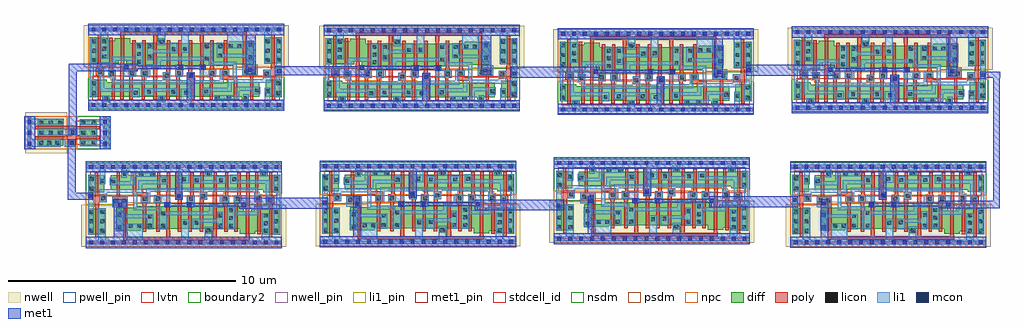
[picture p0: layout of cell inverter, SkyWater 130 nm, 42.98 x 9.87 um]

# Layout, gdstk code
from math import pi, radians
import gdstk
lib = gdstk.Library(unit=1e-6, precision=1e-09)
def R(c, l, rs):  # rectangles x0, y0, x1, y1
    for r in rs: c.add(gdstk.rectangle(r[:2], r[2:], *l))
def A(c, l, x, y, w, h, nx, ny, dx, dy):  # array of equal rectangles
    R(c, l, [(x+i*dx, y+j*dy, x+i*dx+w, y+j*dy+h) for i in range(nx) for j in range(ny)])
def P(c, l, *ps):  # polygons
    for p in ps: c.add(gdstk.Polygon(p, *l))
nwell_pin = (64, 16)
nwell = (64, 20)
diff = (65, 20)
poly = (66, 20)
licon = (66, 44)
li1_pin = (67, 16)
li1 = (67, 20)
mcon = (67, 44)
met1_pin = (68, 16)
met1 = (68, 20)
stdcell_id = (81, 4)
nsdm = (93, 44)
psdm = (94, 20)
npc = (95, 20)
pwell_pin = (122, 16)
lvtn = (125, 44)
boundary2 = (236, 0)

sky130_fd_sc_hs__inv_2 = lib.new_cell('sky130_fd_sc_hs__inv_2')
R(sky130_fd_sc_hs__inv_2, nwell_pin, [(0,3.085,1.44,3.33)])
R(sky130_fd_sc_hs__inv_2, nwell, [(-0.19,1.66,1.63,3.52)])
R(sky130_fd_sc_hs__inv_2, diff, [(0.15,0.37,1.3,1.11), (0.135,1.84,1.305,2.96)])
P(sky130_fd_sc_hs__inv_2, poly, [(1.035,1.765),(1.02,1.765),(1.02,3.09),(0.87,3.09),(0.87,1.765),(0.855,1.765),(0.855,1.45),(0.585,1.45),(0.585,1.765),(0.57,1.765),(0.57,3.09),(0.42,3.09),(0.42,1.765),(0.405,1.765),(0.405,1.63),(0.105,1.63),(0.105,1.3),(0.435,1.3),(0.435,0.24),(0.585,0.24),(0.585,1.3),(0.865,1.3),(0.865,0.24),(1.015,0.24),(1.015,1.3),(1.035,1.3)])
A(sky130_fd_sc_hs__inv_2, licon, 0.21, 0.43, 0.17, 0.17, 3, 2, 0.43, 0.45)
A(sky130_fd_sc_hs__inv_2, licon, 0.185, 2.73, 0.17, 0.17, 3, 1, 0.45, 0)
R(sky130_fd_sc_hs__inv_2, licon, [(0.185,1.38,0.355,1.55), (0.635,1.9,0.805,2.07), (1.085,1.9,1.255,2.07), (0.185,2.03,0.355,2.2), (0.635,2.315,0.805,2.485), (1.085,2.315,1.255,2.485), (0.185,2.38,0.355,2.55)])
A(sky130_fd_sc_hs__inv_2, li1_pin, 0.635, 0.47, 0.17, 0.17, 1, 7, 0, 0.37)
R(sky130_fd_sc_hs__inv_2, li1_pin, [(0.155,1.58,0.325,1.75)])
R(sky130_fd_sc_hs__inv_2, li1, [(0.105,1.3,0.435,1.78)])
P(sky130_fd_sc_hs__inv_2, li1, [(0,-0.085),(0,0.085),(0.13,0.085),(0.13,1.13),(0.38,1.13),(0.38,0.085),(1.07,0.085),(1.07,1.13),(1.32,1.13),(1.32,0.085),(1.44,0.085),(1.44,-0.085)],
  [(0,3.245),(0,3.415),(1.44,3.415),(1.44,3.245),(1.335,3.245),(1.335,1.82),(1.085,1.82),(1.085,3.245),(0.435,3.245),(0.435,1.95),(0.105,1.95),(0.105,3.245)],
  [(0.605,1.13),(0.605,2.98),(0.89,2.98),(0.89,0.35),(0.56,0.35),(0.56,1.13)])
A(sky130_fd_sc_hs__inv_2, mcon, 0.155, -0.085, 0.17, 0.17, 3, 2, 0.48, 3.33)
R(sky130_fd_sc_hs__inv_2, met1_pin, [(0,0,1.44,0.245), (0,3.085,1.44,3.33)])
R(sky130_fd_sc_hs__inv_2, met1, [(0,-0.245,1.44,0.245), (0,3.085,1.44,3.575)])
R(sky130_fd_sc_hs__inv_2, stdcell_id, [(0,0,1.44,3.33)])
R(sky130_fd_sc_hs__inv_2, nsdm, [(0,-0.19,1.44,1.66)])
R(sky130_fd_sc_hs__inv_2, psdm, [(0,1.66,1.44,3.52)])
R(sky130_fd_sc_hs__inv_2, npc, [(0,1.23,1.44,1.7)])
R(sky130_fd_sc_hs__inv_2, pwell_pin, [(0,0,1.44,0.245)])
R(sky130_fd_sc_hs__inv_2, lvtn, [(0.19,0.19,1.25,1.3)])
R(sky130_fd_sc_hs__inv_2, boundary2, [(0,0,1.44,3.33)])
sky130_fd_sc_hs__inv_2.add(gdstk.Label('inv_2', (0,0), layer=83, texttype=44))
sky130_fd_sc_hs__inv_2.add(gdstk.Label('VNB', (0.72,0.123), layer=64, texttype=59))
sky130_fd_sc_hs__inv_2.add(gdstk.Label('VPB', (0.72,3.208), layer=64, texttype=5))
sky130_fd_sc_hs__inv_2.add(gdstk.Label('VPWR', (0.72,3.208), layer=68, texttype=5))
sky130_fd_sc_hs__inv_2.add(gdstk.Label('VGND', (0.72,0.123), layer=68, texttype=5))
sky130_fd_sc_hs__inv_2.add(gdstk.Label('A', (0.24,1.665), layer=67, texttype=5))
sky130_fd_sc_hs__inv_2.add(gdstk.Label('Y', (0.72,0.555), layer=67, texttype=5))
sky130_fd_sc_hs__inv_2.add(gdstk.Label('Y', (0.72,0.925), layer=67, texttype=5))
sky130_fd_sc_hs__inv_2.add(gdstk.Label('Y', (0.72,1.295), layer=67, texttype=5))
sky130_fd_sc_hs__inv_2.add(gdstk.Label('Y', (0.72,1.665), layer=67, texttype=5))
sky130_fd_sc_hs__inv_2.add(gdstk.Label('Y', (0.72,2.035), layer=67, texttype=5))
sky130_fd_sc_hs__inv_2.add(gdstk.Label('Y', (0.72,2.405), layer=67, texttype=5))
sky130_fd_sc_hs__inv_2.add(gdstk.Label('Y', (0.72,2.775), layer=67, texttype=5))

sky130_fd_sc_hs__fa_1 = lib.new_cell('sky130_fd_sc_hs__fa_1')
R(sky130_fd_sc_hs__fa_1, nwell_pin, [(0,3.085,8.64,3.33)])
P(sky130_fd_sc_hs__fa_1, nwell, [(8.83,3.52),(-0.19,3.52),(-0.19,1.66),(1.5,1.66),(1.5,1.555),(7.48,1.555),(7.48,1.66),(8.83,1.66)])
R(sky130_fd_sc_hs__fa_1, diff, [(7.82,0.37,8.505,1.11), (7.775,1.84,8.505,2.96)])
P(sky130_fd_sc_hs__fa_1, diff, [(7.3,2.81),(6.22,2.81),(6.22,2.735),(3.375,2.735),(3.375,2.94),(3.12,2.94),(3.12,2.735),(1.855,2.735),(1.855,2.945),(1.175,2.945),(1.175,2.84),(0.845,2.84),(0.845,2.96),(0.135,2.96),(0.135,1.84),(1.35,1.84),(1.35,1.945),(1.68,1.945),(1.68,1.735),(6.395,1.735),(6.395,1.81),(7.3,1.81)],
  [(7.55,1.015),(0.82,1.015),(0.82,1.11),(0.135,1.11),(0.135,0.37),(0.645,0.37),(0.645,0.18),(0.96,0.18),(0.96,0.375),(3.09,0.375),(3.09,0.18),(3.38,0.18),(3.38,0.375),(5.575,0.375),(5.575,0.195),(6.335,0.195),(6.335,0.375),(6.77,0.375),(6.77,0.18),(7.06,0.18),(7.06,0.375),(7.55,0.375)])
P(sky130_fd_sc_hs__fa_1, poly, [(0.675,1.63),(0.585,1.63),(0.585,1.765),(0.57,1.765),(0.57,3.09),(0.42,3.09),(0.42,1.765),(0.405,1.765),(0.405,1.63),(0.345,1.63),(0.345,1.3),(0.42,1.3),(0.42,0.24),(0.57,0.24),(0.57,1.3),(0.675,1.3)],
  [(1.215,1.55),(1.1,1.55),(1.1,1.765),(1.085,1.765),(1.085,2.97),(0.935,2.97),(0.935,1.765),(0.92,1.765),(0.92,1.55),(0.885,1.55),(0.885,1.22),(1.035,1.22),(1.035,0.245),(1.185,0.245),(1.185,1.22),(1.215,1.22)],
  [(2.115,1.575),(2.11,1.575),(2.11,1.66),(2.095,1.66),(2.095,2.865),(1.945,2.865),(1.945,1.66),(1.93,1.66),(1.93,1.575),(1.785,1.575),(1.785,1.245),(1.815,1.245),(1.815,0.245),(1.965,0.245),(1.965,1.245),(2.115,1.245)],
  [(2.655,1.575),(2.56,1.575),(2.56,1.66),(2.545,1.66),(2.545,2.865),(2.395,2.865),(2.395,1.66),(2.38,1.66),(2.38,1.575),(2.325,1.575),(2.325,1.245),(2.355,1.245),(2.355,0.245),(2.505,0.245),(2.505,1.245),(2.655,1.245)],
  [(3.63,1.66),(3.615,1.66),(3.615,2.865),(3.465,2.865),(3.465,1.66),(3.45,1.66),(3.45,1.455),(3.3,1.455),(3.3,1.125),(3.455,1.125),(3.455,0.245),(3.605,0.245),(3.605,1.125),(3.63,1.125)],
  [(4.17,1.575),(4.135,1.575),(4.135,1.66),(4.12,1.66),(4.12,2.865),(3.97,2.865),(3.97,1.66),(3.955,1.66),(3.955,1.575),(3.84,1.575),(3.84,1.245),(3.885,1.245),(3.885,0.245),(4.035,0.245),(4.035,1.245),(4.17,1.245)],
  [(4.71,1.455),(4.595,1.455),(4.595,1.66),(4.58,1.66),(4.58,2.865),(4.43,2.865),(4.43,1.66),(4.415,1.66),(4.415,1.455),(4.38,1.455),(4.38,1.125),(4.53,1.125),(4.53,0.245),(4.68,0.245),(4.68,1.125),(4.71,1.125)],
  [(5.64,1.575),(5.55,1.575),(5.55,1.66),(5.535,1.66),(5.535,2.865),(5.385,2.865),(5.385,1.66),(5.37,1.66),(5.37,1.575),(5.31,1.575),(5.31,1.245),(5.35,1.245),(5.35,0.245),(5.5,0.245),(5.5,1.245),(5.64,1.245)],
  [(6.56,1.26),(6.21,1.26),(6.21,1.575),(6.145,1.575),(6.145,1.66),(6.13,1.66),(6.13,2.865),(5.98,2.865),(5.98,1.66),(5.965,1.66),(5.965,1.575),(5.88,1.575),(5.88,1.11),(6.41,1.11),(6.41,0.245),(6.56,0.245)],
  [(7.47,1.65),(6.98,1.65),(6.98,1.735),(6.965,1.735),(6.965,2.885),(6.98,2.885),(6.98,3.225),(1.425,3.225),(1.425,3.02),(1.44,3.02),(1.44,1.87),(1.425,1.87),(1.425,0.245),(1.575,0.245),(1.575,1.715),(1.605,1.715),(1.605,1.87),(1.59,1.87),(1.59,3.02),(1.605,3.02),(1.605,3.075),(2.865,3.075),(2.865,2.81),(2.88,2.81),(2.88,1.66),(2.865,1.66),(2.865,0.245),(3.015,0.245),(3.015,1.09),(3.045,1.09),(3.045,1.66),(3.03,1.66),(3.03,2.81),(3.045,2.81),(3.045,3.075),(4.92,3.075),(4.92,2.81),(4.935,2.81),(4.935,1.66),(4.92,1.66),(4.92,0.245),(5.07,0.245),(5.07,1.09),(5.1,1.09),(5.1,1.66),(5.085,1.66),(5.085,2.81),(5.1,2.81),(5.1,3.075),(6.8,3.075),(6.8,2.885),(6.815,2.885),(6.815,1.735),(6.8,1.735),(6.8,1.32),(7.135,1.32),(7.135,0.245),(7.285,0.245),(7.285,1.32),(7.47,1.32)],
  [(8.235,1.765),(8.22,1.765),(8.22,3.09),(8.07,3.09),(8.07,1.765),(8.055,1.765),(8.055,1.55),(7.71,1.55),(7.71,1.22),(8.085,1.22),(8.085,0.24),(8.235,0.24)])
A(sky130_fd_sc_hs__fa_1, licon, 2.16, 1.825, 0.17, 0.17, 1, 3, 0, 0.34)
A(sky130_fd_sc_hs__fa_1, licon, 0.185, 1.9, 0.17, 0.17, 1, 3, 0, 0.415)
A(sky130_fd_sc_hs__fa_1, licon, 7.835, 1.9, 0.17, 0.17, 1, 3, 0, 0.415)
A(sky130_fd_sc_hs__fa_1, licon, 8.285, 1.9, 0.17, 0.17, 1, 3, 0, 0.415)
A(sky130_fd_sc_hs__fa_1, licon, 0.635, 2.05, 0.17, 0.17, 1, 3, 0, 0.34)
R(sky130_fd_sc_hs__fa_1, licon, [(6.83,0.22,7,0.39), (0.715,0.24,0.885,0.41), (3.15,0.24,3.32,0.41), (5.635,0.255,5.805,0.425), (6.105,0.255,6.275,0.425), (0.195,0.43,0.365,0.6), (8.29,0.43,8.46,0.6), (4.23,0.46,4.4,0.63), (2.02,0.465,2.19,0.635), (2.6,0.5,2.77,0.67), (3.66,0.5,3.83,0.67), (5.125,0.515,5.295,0.685), (7.86,0.52,8.03,0.69), (7.34,0.56,7.51,0.73), (0.195,0.88,0.365,1.05), (8.29,0.88,8.46,1.05), (3.38,1.205,3.55,1.375), (4.46,1.205,4.63,1.375), (0.965,1.3,1.135,1.47), (7.79,1.3,7.96,1.47), (1.865,1.325,2.035,1.495), (2.405,1.325,2.575,1.495), (3.92,1.325,4.09,1.495), (5.39,1.325,5.56,1.495), (5.96,1.325,6.13,1.495), (0.425,1.38,0.595,1.55), (6.88,1.4,7.05,1.57), (7.22,1.4,7.39,1.57), (5.15,1.95,5.32,2.12), (7.07,2.03,7.24,2.2), (2.61,2.045,2.78,2.215), (5.745,2.085,5.915,2.255), (3.68,2.37,3.85,2.54), (4.185,2.385,4.355,2.555), (2.61,2.505,2.78,2.675), (5.15,2.505,5.32,2.675), (5.745,2.505,5.915,2.675), (6.2,2.515,6.37,2.685), (6.575,2.515,6.745,2.685), (7.07,2.58,7.24,2.75), (3.16,2.71,3.33,2.88)])
A(sky130_fd_sc_hs__fa_1, li1_pin, 8.315, 0.47, 0.17, 0.17, 1, 7, 0, 0.37)
R(sky130_fd_sc_hs__fa_1, li1_pin, [(0.155,0.47,0.325,0.64), (0.155,0.84,0.325,1.01), (4.475,1.21,4.645,1.38), (6.875,1.58,7.045,1.75)])
R(sky130_fd_sc_hs__fa_1, li1, [(3.84,1.26,4.195,1.78), (6.8,1.32,7.47,1.78)])
P(sky130_fd_sc_hs__fa_1, li1, [(7.59,0.81),(6.49,0.81),(6.49,0.425),(5.555,0.425),(5.555,0.255),(6.66,0.255),(6.66,0.64),(7.26,0.64),(7.26,0.48),(7.59,0.48)],
  [(8.04,1.55),(7.71,1.55),(7.71,1.15),(6.55,1.15),(6.55,1.915),(5.495,1.915),(5.495,2.755),(5.07,2.755),(5.07,2.12),(3.03,2.12),(3.03,1.795),(2.58,1.795),(2.58,1.575),(2.325,1.575),(2.325,1.26),(2.75,1.26),(2.75,1.625),(3.2,1.625),(3.2,1.95),(5.325,1.95),(5.325,1.745),(6.38,1.745),(6.38,1.15),(6.15,1.15),(6.15,0.765),(5.045,0.765),(5.045,0.435),(5.375,0.435),(5.375,0.595),(6.32,0.595),(6.32,0.98),(8.04,0.98)],
  [(8.54,2.98),(8.285,2.98),(8.285,1.13),(8.21,1.13),(8.21,0.35),(8.54,0.35)],
  [(8.64,3.415),(0,3.415),(0,3.245),(0.555,3.245),(0.555,2.05),(0.885,2.05),(0.885,3.245),(3.08,3.245),(3.08,2.63),(3.41,2.63),(3.41,3.245),(4.105,3.245),(4.105,2.305),(4.435,2.305),(4.435,3.245),(6.12,3.245),(6.12,2.5),(6.825,2.5),(6.825,3.245),(7.755,3.245),(7.755,1.82),(8.085,1.82),(8.085,3.245),(8.64,3.245)],
  [(8.64,0.085),(8.03,0.085),(8.03,0.77),(7.78,0.77),(7.78,0.085),(7.08,0.085),(7.08,0.47),(6.83,0.47),(6.83,0.085),(4.555,0.085),(4.555,0.71),(4.08,0.71),(4.08,0.085),(3.4,0.085),(3.4,0.41),(3.07,0.41),(3.07,0.085),(0.98,0.085),(0.98,0.41),(0.625,0.41),(0.625,0.085),(0,0.085),(0,-0.085),(8.64,-0.085)],
  [(0.365,1.13),(0.255,1.13),(0.255,1.82),(0.355,1.82),(0.355,2.98),(0.085,2.98),(0.085,0.35),(0.365,0.35)],
  [(2.115,1.575),(1.795,1.575),(1.795,1.78),(1.565,1.78),(1.565,1.26),(2.115,1.26)],
  [(2.41,2.755),(2.08,2.755),(2.08,2.12),(1.055,2.12),(1.055,1.88),(0.535,1.88),(0.535,1.63),(0.425,1.63),(0.425,1.3),(0.535,1.3),(0.535,0.58),(1.94,0.58),(1.94,0.355),(2.27,0.355),(2.27,0.75),(0.705,0.75),(0.705,1.71),(1.225,1.71),(1.225,1.95),(2.08,1.95),(2.08,1.745),(2.41,1.745)],
  [(3.91,0.75),(2.48,0.75),(2.48,0.42),(2.89,0.42),(2.89,0.58),(3.58,0.58),(3.58,0.42),(3.91,0.42)],
  [(3.93,2.755),(3.6,2.755),(3.6,2.46),(2.86,2.46),(2.86,2.755),(2.61,2.755),(2.61,1.965),(2.86,1.965),(2.86,2.29),(3.93,2.29)],
  [(5.64,1.575),(5.155,1.575),(5.155,1.78),(4.925,1.78),(4.925,1.275),(5.64,1.275)],
  [(6.21,1.575),(5.81,1.575),(5.81,1.105),(4.71,1.105),(4.71,1.455),(4.38,1.455),(4.38,1.09),(3.63,1.09),(3.63,1.455),(3.3,1.455),(3.3,1.09),(1.215,1.09),(1.215,1.54),(0.885,1.54),(0.885,1.22),(1.045,1.22),(1.045,0.92),(4.71,0.92),(4.71,0.935),(5.98,0.935),(5.98,1.32),(6.21,1.32)],
  [(7.32,2.83),(7,2.83),(7,2.255),(5.95,2.255),(5.95,2.755),(5.665,2.755),(5.665,2.085),(6.99,2.085),(6.99,1.95),(7.32,1.95)])
A(sky130_fd_sc_hs__fa_1, mcon, 0.155, -0.085, 0.17, 0.17, 18, 2, 0.48, 3.33)
R(sky130_fd_sc_hs__fa_1, mcon, [(1.595,1.58,1.765,1.75), (3.995,1.58,4.165,1.75), (4.955,1.58,5.125,1.75)])
R(sky130_fd_sc_hs__fa_1, met1_pin, [(0,0,8.64,0.245), (3.995,1.58,4.165,1.75), (0,3.085,8.64,3.33)])
R(sky130_fd_sc_hs__fa_1, met1, [(0,-0.245,8.64,0.245), (0,3.085,8.64,3.575)])
P(sky130_fd_sc_hs__fa_1, met1, [(5.185,1.78),(4.895,1.78),(4.895,1.735),(4.225,1.735),(4.225,1.78),(3.935,1.78),(3.935,1.735),(1.825,1.735),(1.825,1.78),(1.535,1.78),(1.535,1.55),(1.825,1.55),(1.825,1.595),(3.935,1.595),(3.935,1.55),(4.225,1.55),(4.225,1.595),(4.895,1.595),(4.895,1.55),(5.185,1.55)])
R(sky130_fd_sc_hs__fa_1, stdcell_id, [(0,0,8.64,3.33)])
P(sky130_fd_sc_hs__fa_1, nsdm, [(8.64,1.66),(6.525,1.66),(6.525,1.605),(1.55,1.605),(1.55,1.66),(0,1.66),(0,-0.19),(8.64,-0.19)])
P(sky130_fd_sc_hs__fa_1, psdm, [(8.64,3.52),(0,3.52),(0,1.66),(1.55,1.66),(1.55,1.605),(6.525,1.605),(6.525,1.66),(6.77,1.66),(6.77,1.68),(7.5,1.68),(7.5,1.66),(8.64,1.66)])
P(sky130_fd_sc_hs__fa_1, npc, [(8.64,1.7),(7.44,1.7),(7.44,1.67),(6.535,1.67),(6.535,1.595),(1.54,1.595),(1.54,1.7),(0,1.7),(0,1.23),(0.865,1.23),(0.865,1.2),(0.97,1.2),(0.97,1.105),(2.57,1.105),(2.57,1.225),(2.675,1.225),(2.675,1.23),(3.28,1.23),(3.28,1.105),(4.125,1.105),(4.125,0.96),(4.44,0.96),(4.44,1.105),(4.73,1.105),(4.73,1.23),(5.29,1.23),(5.29,1.225),(5.395,1.225),(5.395,1.105),(5.59,1.105),(5.59,0.96),(6.125,0.96),(6.125,1.225),(6.23,1.225),(6.23,1.23),(7.69,1.23),(7.69,1.2),(8.06,1.2),(8.06,1.23),(8.64,1.23)])
R(sky130_fd_sc_hs__fa_1, pwell_pin, [(0,0,8.64,0.245)])
R(sky130_fd_sc_hs__fa_1, lvtn, [(0.19,0.19,8.45,1.3)])
R(sky130_fd_sc_hs__fa_1, boundary2, [(0,0,8.64,3.33)])
sky130_fd_sc_hs__fa_1.add(gdstk.Label('fa_1', (0,0), layer=83, texttype=44))
sky130_fd_sc_hs__fa_1.add(gdstk.Label('VNB', (4.32,0.123), layer=64, texttype=59))
sky130_fd_sc_hs__fa_1.add(gdstk.Label('VPB', (4.32,3.208), layer=64, texttype=5))
sky130_fd_sc_hs__fa_1.add(gdstk.Label('CIN', (4.08,1.665), layer=68, texttype=5))
sky130_fd_sc_hs__fa_1.add(gdstk.Label('VPWR', (4.32,3.208), layer=68, texttype=5))
sky130_fd_sc_hs__fa_1.add(gdstk.Label('VGND', (4.32,0.123), layer=68, texttype=5))
sky130_fd_sc_hs__fa_1.add(gdstk.Label('A', (4.56,1.295), layer=67, texttype=5))
sky130_fd_sc_hs__fa_1.add(gdstk.Label('B', (6.96,1.665), layer=67, texttype=5))
sky130_fd_sc_hs__fa_1.add(gdstk.Label('COUT', (8.4,0.555), layer=67, texttype=5))
sky130_fd_sc_hs__fa_1.add(gdstk.Label('COUT', (8.4,0.925), layer=67, texttype=5))
sky130_fd_sc_hs__fa_1.add(gdstk.Label('COUT', (8.4,1.295), layer=67, texttype=5))
sky130_fd_sc_hs__fa_1.add(gdstk.Label('COUT', (8.4,1.665), layer=67, texttype=5))
sky130_fd_sc_hs__fa_1.add(gdstk.Label('COUT', (8.4,2.035), layer=67, texttype=5))
sky130_fd_sc_hs__fa_1.add(gdstk.Label('COUT', (8.4,2.405), layer=67, texttype=5))
sky130_fd_sc_hs__fa_1.add(gdstk.Label('COUT', (8.4,2.775), layer=67, texttype=5))
sky130_fd_sc_hs__fa_1.add(gdstk.Label('SUM', (0.24,0.555), layer=67, texttype=5))
sky130_fd_sc_hs__fa_1.add(gdstk.Label('SUM', (0.24,0.925), layer=67, texttype=5))

inverter = lib.new_cell('inverter')
R(inverter, nwell, [(11.8,1.665,17.78,1.77), (1.43,1.695,7.41,1.8), (10.11,1.77,19.13,3.63), (-0.26,1.8,8.76,3.66)])
R(inverter, diff, [(10.945,0.29,11.26,0.48), (13.39,0.29,13.68,0.485), (17.07,0.29,17.36,0.485), (15.875,0.305,16.635,0.485), (0.575,0.32,0.89,0.51), (3.02,0.32,3.31,0.515), (6.7,0.32,6.99,0.515), (5.505,0.335,6.265,0.515), (10.435,0.48,11.26,0.485), (18.12,0.48,18.805,1.22), (10.435,0.485,17.85,1.125), (0.065,0.51,0.89,0.515), (7.75,0.51,8.435,1.25), (0.065,0.515,7.48,1.155), (10.435,1.125,11.12,1.22), (0.065,1.155,0.75,1.25), (11.98,1.845,12.245,2.055), (12.395,1.845,12.695,2.845), (12.845,1.845,13.18,2.845), (13.33,1.845,13.765,2.845), (13.915,1.845,14.27,2.845), (14.42,1.845,14.73,2.845), (14.88,1.845,15.235,2.845), (15.385,1.845,15.685,2.845), (15.835,1.845,16.28,2.845), (16.43,1.845,16.695,1.92), (1.61,1.875,1.875,2.085), (2.025,1.875,2.325,2.875), (2.475,1.875,2.81,2.875), (2.96,1.875,3.395,2.875), (3.545,1.875,3.9,2.875), (4.05,1.875,4.36,2.875), (4.51,1.875,4.865,2.875), (5.015,1.875,5.315,2.875), (5.465,1.875,5.91,2.875), (6.06,1.875,6.325,1.95), (16.43,1.92,17.115,2.845), (17.265,1.92,17.6,2.92), (6.06,1.95,6.745,2.875), (6.895,1.95,7.23,2.95), (10.435,1.95,10.72,3.07), (10.87,1.95,11.235,2.95), (11.385,1.95,11.65,2.055), (18.075,1.95,18.37,3.07), (18.52,1.95,18.805,3.07), (0.065,1.98,0.35,3.1), (0.5,1.98,0.865,2.98), (1.015,1.98,1.28,2.085), (7.705,1.98,8,3.1), (8.15,1.98,8.435,3.1), (11.385,2.055,11.74,2.95), (11.89,2.055,12.245,2.845), (1.015,2.085,1.37,2.98), (1.52,2.085,1.875,2.875), (11.89,2.845,12.155,3.055), (13.42,2.845,13.675,3.05), (16.52,2.845,17.115,2.92), (1.52,2.875,1.785,3.085), (3.05,2.875,3.305,3.08), (6.15,2.875,6.745,2.95), (10.87,2.95,11.145,3.07), (11.475,2.95,11.74,3.055), (0.5,2.98,0.775,3.1), (1.105,2.98,1.37,3.085)])
R(inverter, poly, [(10.72,0.35,10.87,1.41), (18.385,0.35,18.535,1.33), (11.335,0.355,11.485,1.33), (11.725,0.355,11.875,1.825), (12.115,0.355,12.265,1.355), (12.655,0.355,12.805,1.355), (13.165,0.355,13.315,1.2), (13.755,0.355,13.905,1.235), (14.185,0.355,14.335,1.355), (14.83,0.355,14.98,1.235), (15.22,0.355,15.37,1.2), (15.65,0.355,15.8,1.355), (16.71,0.355,16.86,1.22), (17.435,0.355,17.585,1.43), (0.35,0.38,0.5,1.44), (8.015,0.38,8.165,1.36), (0.965,0.385,1.115,1.36), (1.355,0.385,1.505,1.855), (1.745,0.385,1.895,1.385), (2.285,0.385,2.435,1.385), (2.795,0.385,2.945,1.23), (3.385,0.385,3.535,1.265), (3.815,0.385,3.965,1.385), (4.46,0.385,4.61,1.265), (4.85,0.385,5,1.23), (5.28,0.385,5.43,1.385), (6.34,0.385,6.49,1.25), (7.065,0.385,7.215,1.46), (13.165,1.2,13.345,1.77), (15.22,1.2,15.4,1.77), (16.18,1.22,16.86,1.37), (2.795,1.23,2.975,1.8), (4.85,1.23,5.03,1.8), (13.6,1.235,13.93,1.565), (14.68,1.235,15.01,1.565), (5.81,1.25,6.49,1.4), (3.23,1.265,3.56,1.595), (4.31,1.265,4.64,1.595), (11.185,1.33,11.515,1.66), (18.01,1.33,18.535,1.66), (12.085,1.355,12.415,1.685), (12.625,1.355,12.955,1.685), (14.14,1.355,14.47,1.685), (15.61,1.355,15.94,1.685), (0.815,1.36,1.145,1.69), (7.64,1.36,8.165,1.69), (16.18,1.37,16.51,1.685), (1.715,1.385,2.045,1.715), (2.255,1.385,2.585,1.715), (3.77,1.385,4.1,1.715), (5.24,1.385,5.57,1.715), (5.81,1.4,6.14,1.715), (10.645,1.41,10.975,1.74), (17.1,1.43,17.77,1.76), (0.275,1.44,0.605,1.77), (6.73,1.46,7.4,1.79), (13.75,1.565,13.93,1.77), (14.715,1.565,14.895,1.77), (3.38,1.595,3.56,1.8), (4.345,1.595,4.525,1.8), (11.22,1.66,11.4,1.875), (18.355,1.66,18.535,1.875), (12.23,1.685,12.41,1.77), (12.68,1.685,12.86,1.77), (14.255,1.685,14.435,1.77), (15.67,1.685,15.85,1.77), (16.265,1.685,16.445,1.77), (0.85,1.69,1.03,1.905), (7.985,1.69,8.165,1.905), (1.86,1.715,2.04,1.8), (2.31,1.715,2.49,1.8), (3.885,1.715,4.065,1.8), (5.3,1.715,5.48,1.8), (5.895,1.715,6.075,1.8), (10.705,1.74,10.885,1.875), (17.1,1.76,17.28,1.845), (0.335,1.77,0.515,1.905), (12.245,1.77,12.395,1.845), (12.695,1.77,12.845,1.845), (13.18,1.77,13.33,1.845), (13.765,1.77,13.915,1.845), (14.27,1.77,14.42,1.845), (14.73,1.77,14.88,1.845), (15.235,1.77,15.385,1.845), (15.685,1.77,15.835,1.845), (16.28,1.77,16.43,1.845), (6.73,1.79,6.91,1.875), (1.875,1.8,2.025,1.875), (2.325,1.8,2.475,1.875), (2.81,1.8,2.96,1.875), (3.395,1.8,3.545,1.875), (3.9,1.8,4.05,1.875), (4.36,1.8,4.51,1.875), (4.865,1.8,5.015,1.875), (5.315,1.8,5.465,1.875), (5.91,1.8,6.06,1.875), (11.725,1.825,11.905,1.98), (17.115,1.845,17.265,1.92), (1.355,1.855,1.535,2.01), (6.745,1.875,6.895,1.95), (10.72,1.875,10.87,1.95), (11.235,1.875,11.385,1.95), (18.37,1.875,18.52,1.95), (0.35,1.905,0.5,1.98), (0.865,1.905,1.015,1.98), (8,1.905,8.15,1.98), (11.74,1.98,11.89,2.055), (1.37,2.01,1.52,2.085), (12.245,2.845,12.395,2.975), (12.695,2.845,12.845,2.975), (13.18,2.845,13.33,2.92), (13.765,2.845,13.915,2.975), (14.27,2.845,14.42,2.975), (14.73,2.845,14.88,2.975), (15.235,2.845,15.385,2.92), (15.685,2.845,15.835,2.975), (16.28,2.845,16.43,2.975), (1.875,2.875,2.025,3.005), (2.325,2.875,2.475,3.005), (2.81,2.875,2.96,2.95), (3.395,2.875,3.545,3.005), (3.9,2.875,4.05,3.005), (4.36,2.875,4.51,3.005), (4.865,2.875,5.015,2.95), (5.315,2.875,5.465,3.005), (5.91,2.875,6.06,3.005), (13.165,2.92,13.345,3.185), (15.22,2.92,15.4,3.185), (17.115,2.92,17.265,2.995), (2.795,2.95,2.975,3.215), (4.85,2.95,5.03,3.215), (6.745,2.95,6.895,3.025), (11.235,2.95,11.385,3.08), (0.865,2.98,1.015,3.11), (17.1,2.995,17.28,3.185), (6.73,3.025,6.91,3.215), (11.74,3.055,11.89,3.13), (10.72,3.07,10.87,3.2), (18.37,3.07,18.52,3.2), (1.37,3.085,1.52,3.16), (0.35,3.1,0.5,3.23), (8,3.1,8.15,3.23), (11.725,3.13,11.905,3.185), (1.355,3.16,1.535,3.215), (11.725,3.185,17.28,3.335), (1.355,3.215,6.91,3.365)])
A(inverter, licon, 12.46, 1.935, 0.17, 0.17, 1, 3, 0, 0.34)
A(inverter, licon, 2.09, 1.965, 0.17, 0.17, 1, 3, 0, 0.34)
A(inverter, licon, 10.485, 2.01, 0.17, 0.17, 1, 3, 0, 0.415)
A(inverter, licon, 18.135, 2.01, 0.17, 0.17, 1, 3, 0, 0.415)
A(inverter, licon, 18.585, 2.01, 0.17, 0.17, 1, 3, 0, 0.415)
A(inverter, licon, 0.115, 2.04, 0.17, 0.17, 1, 3, 0, 0.415)
A(inverter, licon, 7.765, 2.04, 0.17, 0.17, 1, 3, 0, 0.415)
A(inverter, licon, 8.215, 2.04, 0.17, 0.17, 1, 3, 0, 0.415)
A(inverter, licon, 10.935, 2.16, 0.17, 0.17, 1, 3, 0, 0.34)
A(inverter, licon, 0.565, 2.19, 0.17, 0.17, 1, 3, 0, 0.34)
R(inverter, licon, [(17.13,0.33,17.3,0.5), (11.015,0.35,11.185,0.52), (13.45,0.35,13.62,0.52), (6.76,0.36,6.93,0.53), (15.935,0.365,16.105,0.535), (16.405,0.365,16.575,0.535), (0.645,0.38,0.815,0.55), (3.08,0.38,3.25,0.55), (5.565,0.395,5.735,0.565), (6.035,0.395,6.205,0.565), (10.495,0.54,10.665,0.71), (18.59,0.54,18.76,0.71), (0.125,0.57,0.295,0.74), (8.22,0.57,8.39,0.74), (14.53,0.57,14.7,0.74), (12.32,0.575,12.49,0.745), (4.16,0.6,4.33,0.77), (1.95,0.605,2.12,0.775), (12.9,0.61,13.07,0.78), (13.96,0.61,14.13,0.78), (15.425,0.625,15.595,0.795), (18.16,0.63,18.33,0.8), (2.53,0.64,2.7,0.81), (3.59,0.64,3.76,0.81), (5.055,0.655,5.225,0.825), (7.79,0.66,7.96,0.83), (17.64,0.67,17.81,0.84), (7.27,0.7,7.44,0.87), (10.495,0.99,10.665,1.16), (18.59,0.99,18.76,1.16), (0.125,1.02,0.295,1.19), (8.22,1.02,8.39,1.19), (13.68,1.315,13.85,1.485), (14.76,1.315,14.93,1.485), (3.31,1.345,3.48,1.515), (4.39,1.345,4.56,1.515), (11.265,1.41,11.435,1.58), (18.09,1.41,18.26,1.58), (12.165,1.435,12.335,1.605), (12.705,1.435,12.875,1.605), (14.22,1.435,14.39,1.605), (15.69,1.435,15.86,1.605), (16.26,1.435,16.43,1.605), (0.895,1.44,1.065,1.61), (7.72,1.44,7.89,1.61), (1.795,1.465,1.965,1.635), (2.335,1.465,2.505,1.635), (3.85,1.465,4.02,1.635), (5.32,1.465,5.49,1.635), (5.89,1.465,6.06,1.635), (10.725,1.49,10.895,1.66), (17.18,1.51,17.35,1.68), (17.52,1.51,17.69,1.68), (0.355,1.52,0.525,1.69), (6.81,1.54,6.98,1.71), (7.15,1.54,7.32,1.71), (15.45,2.06,15.62,2.23), (5.08,2.09,5.25,2.26), (17.37,2.14,17.54,2.31), (12.91,2.155,13.08,2.325), (7,2.17,7.17,2.34), (2.54,2.185,2.71,2.355), (16.045,2.195,16.215,2.365), (5.675,2.225,5.845,2.395), (13.98,2.48,14.15,2.65), (14.485,2.495,14.655,2.665), (3.61,2.51,3.78,2.68), (4.115,2.525,4.285,2.695), (12.91,2.615,13.08,2.785), (15.45,2.615,15.62,2.785), (16.045,2.615,16.215,2.785), (16.5,2.625,16.67,2.795), (16.875,2.625,17.045,2.795), (2.54,2.645,2.71,2.815), (5.08,2.645,5.25,2.815), (5.675,2.645,5.845,2.815), (6.13,2.655,6.3,2.825), (6.505,2.655,6.675,2.825), (17.37,2.69,17.54,2.86), (7,2.72,7.17,2.89), (13.46,2.82,13.63,2.99), (3.09,2.85,3.26,3.02)])
R(inverter, li1, [(20.56,-4.37,20.74,-4.19), (1.26,-4.33,1.43,-4.16), (11.66,-4.32,11.89,-4.11), (32.24,-4.3,32.43,-4.09), (10.26,-4.25,10.44,-4.07), (21.97,-4.19,22.16,-4), (30.97,-4.13,31.15,-3.95), (-0.06,-3.96,0.11,-3.79), (3.83,-3.96,4.02,-3.78), (34.85,-3.92,35.04,-3.71), (14.12,-3.85,14.29,-3.68), (24.45,-3.78,24.63,-3.57), (-0.87,-1.61,-0.7,-1.44), (-0.84,-1.13,-0.67,-0.96), (10.3,0.025,18.94,0.195), (-0.07,0.055,8.57,0.225), (10.925,0.195,11.28,0.52), (13.37,0.195,13.7,0.52), (14.38,0.195,14.855,0.82), (17.13,0.195,17.38,0.58), (18.08,0.195,18.33,0.88), (0.555,0.225,0.91,0.55), (3,0.225,3.33,0.55), (4.01,0.225,4.485,0.85), (6.76,0.225,7.01,0.61), (7.71,0.225,7.96,0.91), (15.855,0.365,16.96,0.535), (5.485,0.395,6.59,0.565), (10.385,0.46,10.665,1.24), (18.51,0.46,18.84,1.24), (12.24,0.465,12.57,0.69), (0.015,0.49,0.295,1.27), (8.14,0.49,8.47,1.27), (1.87,0.495,2.2,0.72), (12.78,0.53,13.19,0.69), (13.88,0.53,14.21,0.69), (16.79,0.535,16.96,0.75), (15.345,0.545,15.675,0.705), (2.41,0.56,2.82,0.72), (3.51,0.56,3.84,0.72), (6.42,0.565,6.59,0.78), (4.975,0.575,5.305,0.735), (17.56,0.59,17.89,0.75), (7.19,0.62,7.52,0.78), (10.835,0.69,12.57,0.86), (12.78,0.69,14.21,0.86), (15.345,0.705,16.62,0.875), (0.465,0.72,2.2,0.89), (2.41,0.72,3.84,0.89), (4.975,0.735,6.25,0.905), (16.79,0.75,17.89,0.92), (6.42,0.78,7.52,0.95), (10.835,0.86,11.005,1.41), (16.45,0.875,16.62,1.09), (0.465,0.89,0.635,1.44), (6.08,0.905,6.25,1.12), (11.345,1.03,15.01,1.045), (11.345,1.045,16.28,1.2), (0.975,1.06,4.64,1.075), (0.975,1.075,5.91,1.23), (16.45,1.09,18.34,1.26), (6.08,1.12,7.97,1.29), (25.06,1.15,25.25,1.33), (35.32,1.17,35.59,1.44), (11.345,1.2,11.515,1.33), (13.6,1.2,13.93,1.565), (14.68,1.2,16.28,1.215), (14.68,1.215,15.01,1.565), (16.11,1.215,16.28,1.43), (0.975,1.23,1.145,1.36), (3.23,1.23,3.56,1.595), (4.31,1.23,5.91,1.245), (10.385,1.24,10.555,1.93), (18.585,1.24,18.84,3.09), (4.31,1.245,4.64,1.595), (5.74,1.245,5.91,1.46), (16.68,1.26,16.85,1.855), (18.01,1.26,18.34,1.66), (0.015,1.27,0.185,1.96), (8.215,1.27,8.47,3.12), (6.31,1.29,6.48,1.885), (7.64,1.29,7.97,1.69), (11.185,1.33,11.515,1.65), (0.815,1.36,1.145,1.68), (11.865,1.37,12.415,1.685), (12.625,1.37,13.05,1.685), (14.14,1.37,14.495,1.89), (39.27,1.37,39.44,1.56), (15.225,1.385,15.94,1.685), (1.495,1.4,2.045,1.715), (2.255,1.4,2.68,1.715), (3.77,1.4,4.125,1.92), (10.725,1.41,11.005,1.74), (4.855,1.415,5.57,1.715), (16.11,1.43,16.51,1.685), (17.1,1.43,17.77,1.89), (0.355,1.44,0.635,1.77), (5.74,1.46,6.14,1.715), (6.73,1.46,7.4,1.92), (27.61,1.48,27.85,1.72), (37.85,1.49,38.12,1.76), (28.94,1.59,29.12,1.77), (11.865,1.685,12.095,1.89), (12.88,1.685,13.05,1.735), (15.225,1.685,15.455,1.89), (1.495,1.715,1.725,1.92), (2.51,1.715,2.68,1.765), (4.855,1.715,5.085,1.92), (12.88,1.735,13.5,1.905), (10.835,1.74,11.005,1.82), (2.51,1.765,3.13,1.935), (0.465,1.77,0.635,1.85), (10.835,1.82,11.525,1.99), (0.465,1.85,1.155,2.02), (12.38,1.855,12.71,2.06), (15.625,1.855,16.85,2.025), (2.01,1.885,2.34,2.09), (5.255,1.885,6.48,2.055), (13.33,1.905,13.5,2.06), (10.385,1.93,10.655,3.09), (18.055,1.93,18.385,3.355), (2.96,1.935,3.13,2.09), (0.015,1.96,0.285,3.12), (7.685,1.96,8.015,3.385), (11.355,1.99,11.525,2.06), (0.985,2.02,1.155,2.09), (15.625,2.025,15.795,2.06), (5.255,2.055,5.425,2.09), (11.355,2.06,12.71,2.23), (13.33,2.06,15.795,2.23), (17.29,2.06,17.62,2.195), (12.91,2.075,13.16,2.4), (0.985,2.09,2.34,2.26), (2.96,2.09,5.425,2.26), (6.92,2.09,7.25,2.225), (2.54,2.105,2.79,2.43), (10.855,2.16,11.185,3.355), (0.485,2.19,0.815,3.385), (15.965,2.195,17.62,2.365), (5.595,2.225,7.25,2.395), (12.38,2.23,12.71,2.865), (15.37,2.23,15.795,2.865), (2.01,2.26,2.34,2.895), (5,2.26,5.425,2.895), (15.965,2.365,16.25,2.865), (17.3,2.365,17.62,2.94), (5.595,2.395,5.88,2.895), (6.93,2.395,7.25,2.97), (12.91,2.4,14.23,2.57), (14.405,2.415,14.735,3.355), (2.54,2.43,3.86,2.6), (4.035,2.445,4.365,3.385), (12.91,2.57,13.16,2.865), (13.9,2.57,14.23,2.865), (2.54,2.6,2.79,2.895), (3.53,2.6,3.86,2.895), (16.42,2.61,17.125,3.355), (6.05,2.64,6.755,3.385), (13.38,2.74,13.71,3.355), (3.01,2.77,3.34,3.385), (10.3,3.355,18.94,3.525), (-0.07,3.385,8.57,3.555)])
A(inverter, mcon, 10.455, 0.025, 0.17, 0.17, 18, 2, 0.48, 3.33)
A(inverter, mcon, 0.085, 0.055, 0.17, 0.17, 18, 2, 0.48, 3.33)
R(inverter, mcon, [(20.565,-4.365,20.735,-4.195), (1.26,-4.33,1.43,-4.16), (11.69,-4.3,11.86,-4.13), (32.25,-4.28,32.42,-4.11), (10.265,-4.245,10.435,-4.075), (21.98,-4.18,22.15,-4.01), (30.975,-4.125,31.145,-3.955), (-0.06,-3.96,0.11,-3.79), (3.84,-3.955,4.01,-3.785), (34.86,-3.9,35.03,-3.73), (14.12,-3.85,14.29,-3.68), (24.455,-3.76,24.625,-3.59), (-0.87,-1.61,-0.7,-1.44), (-0.84,-1.13,-0.67,-0.96), (25.07,1.155,25.24,1.325), (35.37,1.22,35.54,1.39), (14.74,1.31,14.91,1.48), (4.37,1.34,4.54,1.51), (39.27,1.38,39.44,1.55), (18.625,1.445,18.795,1.615), (27.645,1.515,27.815,1.685), (37.9,1.54,38.07,1.71), (8.27,1.55,8.44,1.72), (17.33,1.58,17.5,1.75), (28.945,1.595,29.115,1.765), (6.96,1.61,7.13,1.78), (11.895,1.69,12.065,1.86), (14.295,1.69,14.465,1.86), (15.255,1.69,15.425,1.86), (1.525,1.72,1.695,1.89), (3.925,1.72,4.095,1.89), (4.885,1.72,5.055,1.89)])
R(inverter, met1, [(1.07,-6.12,1.59,-4.32), (32.19,-5.94,32.52,-4), (11.6,-5.81,11.92,-3.88), (21.93,-5.64,22.19,-3.88), (16.97,-4.5,20.89,-4.02), (6.58,-4.43,10.5,-3.95), (37.4,-4.41,40.08,-4.08), (27.28,-4.35,31.2,-3.87), (1.05,-4.32,1.64,-4), (39.79,-4.08,40.08,1.34), (-0.96,-4.03,0.15,-3.72), (3.78,-4.02,4.07,-2.58), (34.76,-4.02,35.09,-2.61), (14.05,-3.95,14.41,-2.32), (24.39,-3.86,24.74,-2.3), (-0.96,-3.72,-0.61,-1.37), (-0.92,-1.17,-0.57,1.63), (10.3,-0.135,18.94,0.355), (-0.07,-0.105,8.57,0.385), (35.26,-0.1,35.66,1.47), (24.98,-0.03,25.31,1.4), (14.64,0.355,15,1.54), (4.27,0.385,4.63,1.57), (39.2,1.3,39.48,1.34), (39.2,1.34,40.09,1.62), (18.55,1.35,22.47,1.83), (27.5,1.39,27.88,3.43), (37.81,1.42,38.2,3.46), (28.89,1.43,32.81,1.91), (8.16,1.46,12.29,1.705), (17.25,1.48,17.69,3.195), (6.88,1.51,7.32,3.225), (-0.92,1.63,2.11,1.735), (14.235,1.66,14.525,1.705), (15.195,1.66,15.485,1.705), (3.865,1.69,4.155,1.735), (4.825,1.69,5.115,1.735), (8.16,1.705,15.485,1.845), (-0.92,1.735,5.115,1.85), (8.16,1.845,12.29,1.85), (14.235,1.845,14.525,1.89), (15.195,1.845,15.485,1.89), (-0.91,1.85,5.115,1.875), (11.835,1.85,12.125,1.89), (-0.91,1.875,2.11,1.97), (3.865,1.875,4.155,1.92), (4.825,1.875,5.115,1.92), (10.3,3.195,18.94,3.685), (-0.07,3.225,8.57,3.715)])
R(inverter, nsdm, [(10.82,0.165,11.385,0.355), (13.265,0.165,13.805,0.36), (16.945,0.165,17.485,0.18), (15.75,0.18,17.485,0.36), (0.45,0.195,1.015,0.385), (2.895,0.195,3.435,0.39), (6.575,0.195,7.115,0.21), (5.38,0.21,7.115,0.39), (10.31,0.355,11.385,0.36), (17.995,0.355,18.93,0.36), (10.31,0.36,18.93,1.25), (-0.06,0.385,1.015,0.39), (7.625,0.385,8.56,0.39), (-0.06,0.39,8.56,1.28), (10.31,1.25,11.245,1.345), (17.995,1.25,18.93,1.345), (-0.06,1.28,0.875,1.375), (7.625,1.28,8.56,1.375)])
R(inverter, psdm, [(11.855,1.72,16.82,1.795), (1.485,1.75,6.45,1.825), (11.855,1.795,17.725,1.825), (1.485,1.825,7.355,1.855), (10.31,1.825,18.93,2.97), (-0.06,1.855,8.56,3), (10.31,2.97,12.28,3.18), (13.295,2.97,13.8,3.175), (16.395,2.97,18.93,3.045), (-0.06,3,1.91,3.21), (2.925,3,3.43,3.205), (6.025,3,8.56,3.075), (17.95,3.045,18.93,3.195), (7.58,3.075,8.56,3.225), (10.31,3.18,11.27,3.195), (-0.06,3.21,0.9,3.225)])
R(inverter, npc, [(13.58,1.215,13.95,1.325), (14.66,1.215,15.03,1.325), (3.21,1.245,3.58,1.355), (4.29,1.245,4.66,1.355), (11.165,1.31,11.535,1.39), (17.99,1.31,18.36,1.41), (13.58,1.325,15.03,1.585), (12.065,1.335,12.975,1.705), (15.59,1.335,16.53,1.705), (0.795,1.34,1.165,1.42), (7.62,1.34,7.99,1.44), (3.21,1.355,4.66,1.615), (1.695,1.365,2.605,1.735), (5.22,1.365,6.16,1.735), (10.625,1.39,11.535,1.68), (17.08,1.41,18.36,1.68), (0.255,1.42,1.165,1.71), (6.71,1.44,7.99,1.71), (13.875,1.585,14.735,1.595), (14.12,1.595,14.49,1.705), (3.505,1.615,4.365,1.625), (3.75,1.625,4.12,1.735), (10.625,1.68,10.995,1.76), (17.08,1.68,17.79,1.78), (0.255,1.71,0.625,1.79), (6.71,1.71,7.42,1.81)])
R(inverter, lvtn, [(10.54,0.3,11.05,0.305), (18.205,0.3,18.715,1.4), (10.54,0.305,15.98,1.305), (16.53,0.305,17.765,1.305), (0.17,0.33,0.68,0.335), (7.835,0.33,8.345,1.43), (0.17,0.335,5.61,1.335), (6.16,0.335,7.395,1.335), (10.54,1.305,11.05,1.4), (0.17,1.335,0.68,1.43)])
inverter.add(gdstk.Reference(sky130_fd_sc_hs__inv_2, (0.685,-1.795), rotation=pi/2))
inverter.add(gdstk.Reference(sky130_fd_sc_hs__fa_1, (8.47,-2.58), rotation=pi))
inverter.add(gdstk.Reference(sky130_fd_sc_hs__fa_1, (18.78,-2.55), rotation=pi))
inverter.add(gdstk.Reference(sky130_fd_sc_hs__fa_1, (29.08,-2.41), rotation=pi))
inverter.add(gdstk.Reference(sky130_fd_sc_hs__fa_1, (39.49,-2.57), rotation=pi))
inverter.add(gdstk.Reference(sky130_fd_sc_hs__fa_1, (30.93,0.03)))
inverter.add(gdstk.Reference(sky130_fd_sc_hs__fa_1, (20.61,-0.05)))
inverter.add(gdstk.Reference(sky130_fd_sc_hs__fa_1, (10.3,0.11)))
inverter.add(gdstk.Reference(sky130_fd_sc_hs__fa_1, (-0.07,0.14)))

lib.write_gds('inverter.gds')
